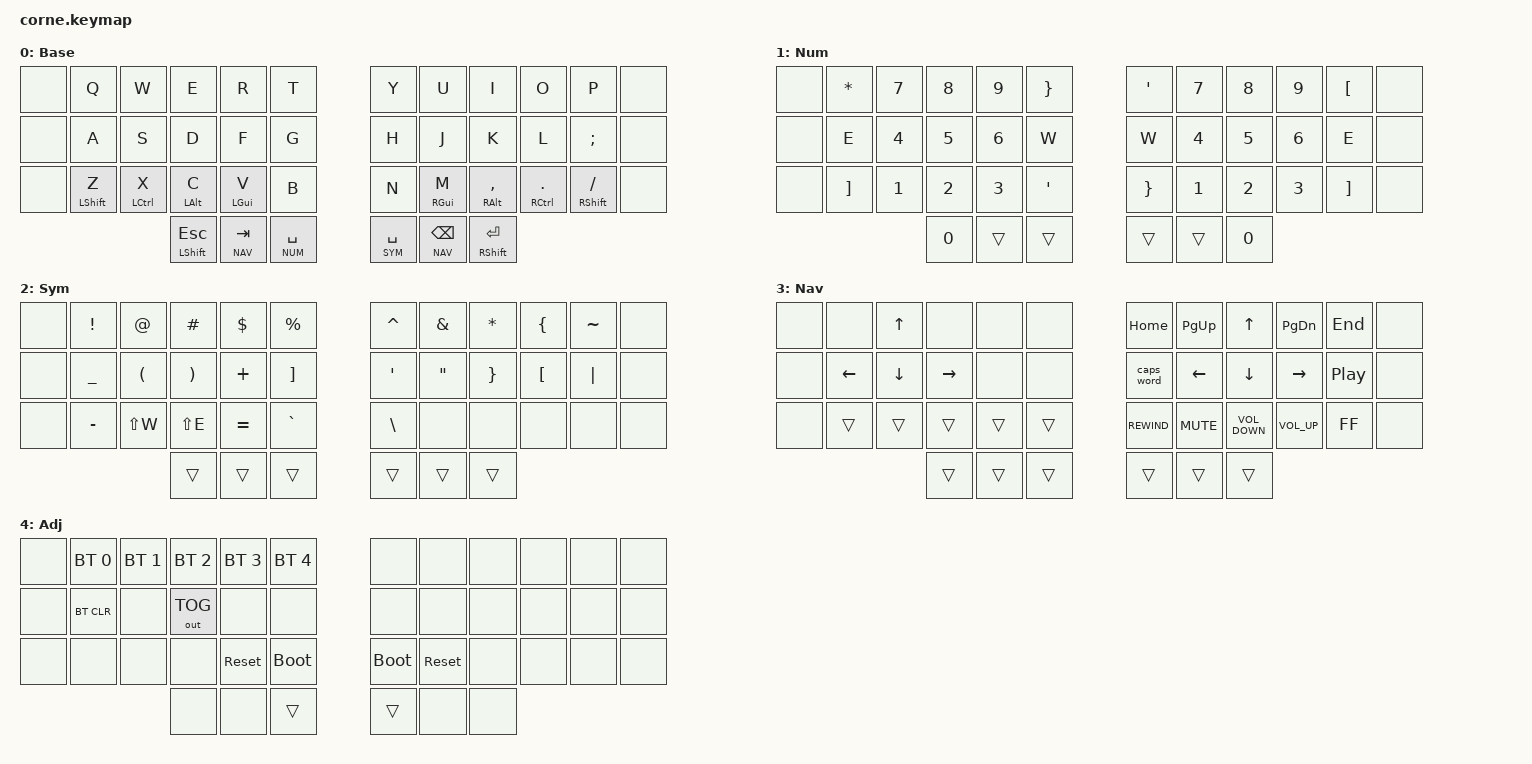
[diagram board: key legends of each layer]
#include <behaviors.dtsi>
#include <dt-bindings/zmk/bt.h>
#include <dt-bindings/zmk/keys.h>
#include <dt-bindings/zmk/outputs.h>

// The host OS does Dvorak, so everything here sends QWERTY keycodes.
// Comments name the character you actually get under OS Dvorak.
// LAYOUT.md is the human cheat sheet — update it when this file changes.

#define BASE 0
#define NUM  1
#define SYM  2
#define NAV  3
#define ADJ  4

&lt {
    quick-tap-ms = <200>;   // tap then hold Space = repeat space, not the layer
};

/ {
    behaviors {
        // Bottom-row mods: balanced + idle guard so fast typing doesn't trigger mods
        hm: home_row_mod {
            compatible = "zmk,behavior-hold-tap";
            #binding-cells = <2>;
            flavor = "balanced";
            tapping-term-ms = <250>;
            quick-tap-ms = <175>;
            require-prior-idle-ms = <150>;
            bindings = <&kp>, <&kp>;
        };
    };

    conditional_layers {
        compatible = "zmk,conditional-layers";
        adjust {
            if-layers = <NUM SYM>;
            then-layer = <ADJ>;
        };
    };

    combos {
        compatible = "zmk,combos";

        // Only on pairs that are rare in Dvorak; idle guard stops mid-word misfires
        left_paren {          // p + y → (
            bindings = <&kp LEFT_PARENTHESIS>;
            key-positions = <4 5>;
            layers = <BASE>;
            require-prior-idle-ms = <150>;
        };

        right_paren {         // f + g → )
            bindings = <&kp RIGHT_PARENTHESIS>;
            key-positions = <6 7>;
            layers = <BASE>;
            require-prior-idle-ms = <150>;
        };

        left_curly {          // k + x → {
            bindings = <&kp UNDER>;
            key-positions = <28 29>;
            layers = <BASE>;
            require-prior-idle-ms = <150>;
        };

        right_curly {         // b + m → }
            bindings = <&kp PLUS>;
            key-positions = <30 31>;
            layers = <BASE>;
            require-prior-idle-ms = <150>;
        };

        grave {               // ' + , → `
            bindings = <&kp GRAVE>;
            key-positions = <1 2>;
            layers = <BASE>;
            require-prior-idle-ms = <150>;
        };

        equals {              // c + r + l → =
            bindings = <&kp RIGHT_BRACKET>;
            key-positions = <8 9 10>;
            layers = <BASE>;
            require-prior-idle-ms = <150>;
        };
    };

    keymap {
        compatible = "zmk,keymap";

        base {
            display-name = "Base";
            bindings = <
&none  &kp Q                &kp W                &kp E               &kp R               &kp T          &kp Y          &kp U               &kp I                &kp O                &kp P                 &none
&none  &kp A                &kp S                &kp D               &kp F               &kp G          &kp H          &kp J               &kp K                &kp L                &kp SEMI              &none
&none  &hm LEFT_SHIFT Z     &hm LEFT_CONTROL X   &hm LEFT_ALT C      &hm LEFT_GUI V      &kp B          &kp N          &hm RIGHT_GUI M     &hm RIGHT_ALT COMMA  &hm RIGHT_CONTROL DOT &hm RIGHT_SHIFT SLASH  &none
                                                 &mt LEFT_SHIFT ESC  &lt NAV TAB         &lt NUM SPACE  &lt SYM SPACE  &lt NAV BACKSPACE   &mt RIGHT_SHIFT ENTER
            >;
        };

        // Numpad on both hands. Left: * 7 8 9 + / . 4 5 6 , / = 1 2 3 -   Right: - 7 8 9 / / , 4 5 6 . / + 1 2 3 =
        numbers {
            display-name = "Num";
            bindings = <
&none  &kp ASTRK          &kp N7  &kp N8  &kp N9  &kp RIGHT_BRACE      &kp SQT          &kp N7  &kp N8  &kp N9  &kp LEFT_BRACKET   &none
&none  &kp E              &kp N4  &kp N5  &kp N6  &kp W                &kp W            &kp N4  &kp N5  &kp N6  &kp E              &none
&none  &kp RIGHT_BRACKET  &kp N1  &kp N2  &kp N3  &kp SQT              &kp RIGHT_BRACE  &kp N1  &kp N2  &kp N3  &kp RIGHT_BRACKET  &none
                                  &kp N0  &trans  &trans               &trans           &trans  &kp N0
            >;
        };

        // Left:  ! @ # $ %  /  { ( ) } =  /  [ < > ] `
        // Right: ^ & * ? ~  /  - _ + / |  /  \ . . . .
        symbols {
            display-name = "Sym";
            bindings = <
&none  &kp EXCL   &kp AT      &kp HASH    &kp DOLLAR  &kp PERCENT          &kp CARET      &kp AMPS  &kp ASTRK        &kp LEFT_BRACE    &kp TILDE  &none
&none  &kp UNDER  &kp LPAR    &kp RPAR    &kp PLUS    &kp RIGHT_BRACKET    &kp SQT        &kp DQT   &kp RIGHT_BRACE  &kp LEFT_BRACKET  &kp PIPE   &none
&none  &kp MINUS  &kp LS(W)   &kp LS(E)   &kp EQUAL   &kp GRAVE            &kp BACKSLASH  &none     &none            &none             &none      &none
                              &trans      &trans      &trans               &trans         &trans    &trans
            >;
        };

        nav {
            display-name = "Nav";
            bindings = <
&none  &none     &kp UP    &none      &none   &none     &kp HOME      &kp PAGE_UP  &kp UP             &kp PAGE_DOWN    &kp END           &none
&none  &kp LEFT  &kp DOWN  &kp RIGHT  &none   &none     &caps_word    &kp LEFT     &kp DOWN           &kp RIGHT        &kp C_PLAY_PAUSE  &none
&none  &trans    &trans    &trans     &trans  &trans    &kp C_REWIND  &kp C_MUTE   &kp C_VOLUME_DOWN  &kp C_VOLUME_UP  &kp C_FF          &none
                           &trans     &trans  &trans    &trans        &trans       &trans
            >;
        };

        // Hold both Spaces. Bootloader/reset act on the half they're pressed on.
        adjust {
            display-name = "Adj";
            bindings = <
&none  &bt BT_SEL 0  &bt BT_SEL 1  &bt BT_SEL 2  &bt BT_SEL 3  &bt BT_SEL 4    &none        &none       &none  &none  &none  &none
&none  &bt BT_CLR    &none         &out OUT_TOG  &none         &none           &none        &none       &none  &none  &none  &none
&none  &none         &none         &none         &sys_reset    &bootloader     &bootloader  &sys_reset  &none  &none  &none  &none
                                   &none         &none         &trans          &trans       &none       &none
            >;
        };
    };
};
